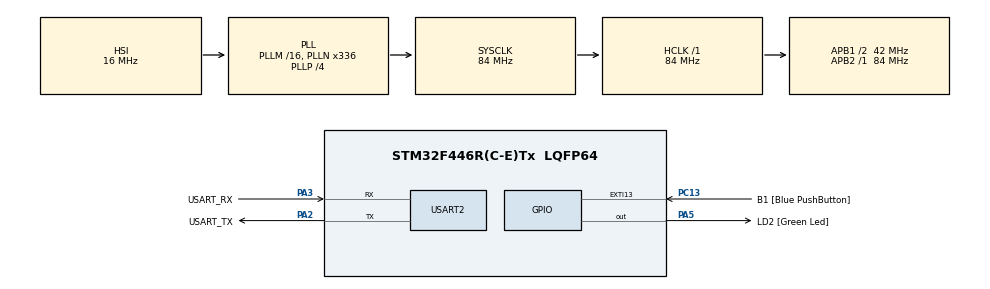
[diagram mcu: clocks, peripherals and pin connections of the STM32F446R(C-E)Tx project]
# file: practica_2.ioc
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Mcu.Family=STM32F4
Mcu.Name=STM32F446R(C-E)Tx
Mcu.Package=LQFP64
NVIC.EXTI15_10_IRQn=true\:0\:0\:false\:false\:true\:true\:true\:true
NVIC.PriorityGroup=NVIC_PRIORITYGROUP_0
PA13.GPIO_Label=TMS
PA13.Mode=Serial_Wire
PA13.Signal=SYS_JTMS-SWDIO
PA14.GPIO_Label=TCK
PA14.Mode=Serial_Wire
PA14.Signal=SYS_JTCK-SWCLK
PA2.GPIO_Label=USART_TX
PA2.Mode=Asynchronous
PA2.Signal=USART2_TX
PA3.GPIO_Label=USART_RX
PA3.Mode=Asynchronous
PA3.Signal=USART2_RX
PA5.GPIO_Label=LD2 [Green Led]
PA5.Signal=GPIO_Output
PB3.GPIO_Label=SWO
PB3.Signal=SYS_JTDO-SWO
PC13.GPIO_Label=B1 [Blue PushButton]
PC13.GPIO_ModeDefaultEXTI=GPIO_MODE_IT_FALLING
PC13.Signal=GPXTI13
PC14-OSC32_IN.Mode=LSE-External-Oscillator
PC14-OSC32_IN.Signal=RCC_OSC32_IN
PC15-OSC32_OUT.Mode=LSE-External-Oscillator
PC15-OSC32_OUT.Signal=RCC_OSC32_OUT
PH0-OSC_IN.Mode=HSE-External-Oscillator
PH0-OSC_IN.Signal=RCC_OSC_IN
PH1-OSC_OUT.Mode=HSE-External-Oscillator
PH1-OSC_OUT.Signal=RCC_OSC_OUT
ProjectManager.HeapSize=0x200
ProjectManager.StackSize=0x400
ProjectManager.TargetToolchain=CMake
RCC.48MHZClocksFreq_Value=84000000
RCC.AHBFreq_Value=84000000
RCC.APB1CLKDivider=RCC_HCLK_DIV2
RCC.APB1Freq_Value=42000000
RCC.APB1TimFreq_Value=84000000
RCC.APB2Freq_Value=84000000
RCC.APB2TimFreq_Value=84000000
RCC.CortexFreq_Value=84000000
RCC.FLatency-AdvancedSettings=FLASH_LATENCY_2
RCC.HCLKFreq_Value=84000000
RCC.HSE_VALUE=8000000
RCC.HSI_VALUE=16000000
RCC.PLLN=336
RCC.PLLP=RCC_PLLP_DIV4
RCC.SYSCLKFreq_VALUE=84000000
RCC.SYSCLKSource=RCC_SYSCLKSOURCE_PLLCLK
RCC.USBFreq_Value=168000000
RCC.VCOOutputFreq_Value=336000000
USART2.VirtualMode=VM_ASYNC
board=NUCLEO-F446RE

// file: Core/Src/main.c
/* USER CODE BEGIN Header */
/**
  ******************************************************************************
  * @file           : main.c
  * @brief          : Main program body
  ******************************************************************************
  * @attention
  *
  * Copyright (c) 2026 STMicroelectronics.
  * All rights reserved.
  *
  * This software is licensed under terms that can be found in the LICENSE file
  * in the root directory of this software component.
  * If no LICENSE file comes with this software, it is provided AS-IS.
  *
  ******************************************************************************
  */
/* USER CODE END Header */
#include "main.h"

/* USER CODE BEGIN Includes */
#include <stdint.h>
/* USER CODE END Includes */

/* USER CODE BEGIN PD */
#define CANT_PARPADEOS 5
/// recordar que se mantiene prendido un 50% del tiempo, entonces la cantidad de
/// semi periodos a esperar en encendido y apagado es el doble
#define SEMIPERIODOS (CANT_PARPADEOS * 2)
/* USER CODE END PD */

/* USER CODE BEGIN PM */
#define ZERO_OR_COMPILE_ERROR(cond) ((int)sizeof(char[1 - (2 * !(cond))]) - 1)
#define IS_ARRAY(array) ZERO_OR_COMPILE_ERROR(	\
        !__builtin_types_compatible_p(__typeof__(array), __typeof__(&(array)[0])))
#define ARRAY_SIZE(array) ((size_t)(IS_ARRAY(array) + (sizeof(array)/sizeof(array[0]))))
/* USER CODE END PM */

UART_HandleTypeDef huart2;

void SystemClock_Config(void);
static void MX_GPIO_Init(void);
static void MX_USART2_UART_Init(void);

/* USER CODE BEGIN 0 */
void delayInit(delay_t* delay, tick_t duration)
{
  /// chequeamos que el puntero a delay sea valido
  if(delay == NULL) { return; }
  delay->duration = duration;
  delay->startTime = 0;
  delay->running = false;
}

bool_t delayRead(delay_t *delay)
{
  /// chequeamos que el puntero a delay sea valido
  if(delay == NULL ) { return false; }
  if(delay->running) {
    /// si esta corriendo, verificar que supero la duracion
    if(HAL_GetTick() - delay->startTime >= delay->duration) {
      delay->running = false;
      return true;
    }
  } else {
    delay->startTime = HAL_GetTick();
    delay->running = true;
  }
  return false;
}

void delayWrite(delay_t* delay, tick_t duration)
{
  /// chequeamos que el puntero a delay sea valido
  if(delay == NULL ) { return; }
  delay->duration = duration;
}

delay_t delay;
uint8_t contador_semiperiodo;
uint16_t retrasos[3] = {1000, 200, 100};
/* USER CODE END 0 */

int main(void)
{

  /* MCU Configuration--------------------------------------------------------*/

  /* Reset of all peripherals, Initializes the Flash interface and the Systick. */
  HAL_Init();

  /* Configure the system clock */
  SystemClock_Config();

  /* Initialize all configured peripherals */
  MX_GPIO_Init();
  MX_USART2_UART_Init();
  /* USER CODE BEGIN 2 */
  delayInit(&delay, 1000);
  /* USER CODE END 2 */

  /* Infinite loop */
  /* USER CODE BEGIN WHILE */
  while (1)
  {
	if(delayRead(&delay)) {
      HAL_GPIO_TogglePin(LD2_GPIO_Port, LD2_Pin);
      contador_semiperiodo++;
      /// verificamos si contador_semiperiodo llego al valor maximo de semiperiodos (en este caso es 30)
      if(contador_semiperiodo == ARRAY_SIZE(retrasos) * SEMIPERIODOS) { contador_semiperiodo = 0; }
      /// si el periodo es multiplo de SEMIPERIODOS entonces modificamos delayWrite.
      if(contador_semiperiodo % SEMIPERIODOS == 0) {
        delayWrite(&delay, retrasos[contador_semiperiodo / SEMIPERIODOS]);
      }
    }
    /* USER CODE END WHILE */

  }
}

void SystemClock_Config(void)
{
  RCC_OscInitTypeDef RCC_OscInitStruct = {0};
  RCC_ClkInitTypeDef RCC_ClkInitStruct = {0};

  /** Configure the main internal regulator output voltage
  */
  __HAL_RCC_PWR_CLK_ENABLE();
  __HAL_PWR_VOLTAGESCALING_CONFIG(PWR_REGULATOR_VOLTAGE_SCALE3);

  /** Initializes the RCC Oscillators according to the specified parameters
  * in the RCC_OscInitTypeDef structure.
  */
  RCC_OscInitStruct.OscillatorType = RCC_OSCILLATORTYPE_HSI;
  RCC_OscInitStruct.HSIState = RCC_HSI_ON;
  RCC_OscInitStruct.HSICalibrationValue = RCC_HSICALIBRATION_DEFAULT;
  RCC_OscInitStruct.PLL.PLLState = RCC_PLL_ON;
  RCC_OscInitStruct.PLL.PLLSource = RCC_PLLSOURCE_HSI;
  RCC_OscInitStruct.PLL.PLLM = 16;
  RCC_OscInitStruct.PLL.PLLN = 336;
  RCC_OscInitStruct.PLL.PLLP = RCC_PLLP_DIV4;
  RCC_OscInitStruct.PLL.PLLQ = 2;
  RCC_OscInitStruct.PLL.PLLR = 2;
  if (HAL_RCC_OscConfig(&RCC_OscInitStruct) != HAL_OK)
  {
    Error_Handler();
  }

  /** Initializes the CPU, AHB and APB buses clocks
  */
  RCC_ClkInitStruct.ClockType = RCC_CLOCKTYPE_HCLK|RCC_CLOCKTYPE_SYSCLK
                              |RCC_CLOCKTYPE_PCLK1|RCC_CLOCKTYPE_PCLK2;
  RCC_ClkInitStruct.SYSCLKSource = RCC_SYSCLKSOURCE_PLLCLK;
  RCC_ClkInitStruct.AHBCLKDivider = RCC_SYSCLK_DIV1;
  RCC_ClkInitStruct.APB1CLKDivider = RCC_HCLK_DIV2;
  RCC_ClkInitStruct.APB2CLKDivider = RCC_HCLK_DIV1;

  if (HAL_RCC_ClockConfig(&RCC_ClkInitStruct, FLASH_LATENCY_2) != HAL_OK)
  {
    Error_Handler();
  }
}

static void MX_USART2_UART_Init(void)
{

  huart2.Instance = USART2;
  huart2.Init.BaudRate = 115200;
  huart2.Init.WordLength = UART_WORDLENGTH_8B;
  huart2.Init.StopBits = UART_STOPBITS_1;
  huart2.Init.Parity = UART_PARITY_NONE;
  huart2.Init.Mode = UART_MODE_TX_RX;
  huart2.Init.HwFlowCtl = UART_HWCONTROL_NONE;
  huart2.Init.OverSampling = UART_OVERSAMPLING_16;
  if (HAL_UART_Init(&huart2) != HAL_OK)
  {
    Error_Handler();
  }

}

static void MX_GPIO_Init(void)
{
  GPIO_InitTypeDef GPIO_InitStruct = {0};

  /* GPIO Ports Clock Enable */
  __HAL_RCC_GPIOC_CLK_ENABLE();
  __HAL_RCC_GPIOH_CLK_ENABLE();
  __HAL_RCC_GPIOA_CLK_ENABLE();
  __HAL_RCC_GPIOB_CLK_ENABLE();

  /*Configure GPIO pin Output Level */
  HAL_GPIO_WritePin(LD2_GPIO_Port, LD2_Pin, GPIO_PIN_RESET);

  /*Configure GPIO pin : B1_Pin */
  GPIO_InitStruct.Pin = B1_Pin;
  GPIO_InitStruct.Mode = GPIO_MODE_IT_FALLING;
  GPIO_InitStruct.Pull = GPIO_NOPULL;
  HAL_GPIO_Init(B1_GPIO_Port, &GPIO_InitStruct);

  /*Configure GPIO pin : LD2_Pin */
  GPIO_InitStruct.Pin = LD2_Pin;
  GPIO_InitStruct.Mode = GPIO_MODE_OUTPUT_PP;
  GPIO_InitStruct.Pull = GPIO_NOPULL;
  GPIO_InitStruct.Speed = GPIO_SPEED_FREQ_LOW;
  HAL_GPIO_Init(LD2_GPIO_Port, &GPIO_InitStruct);

  /* EXTI interrupt init*/
  HAL_NVIC_SetPriority(EXTI15_10_IRQn, 0, 0);
  HAL_NVIC_EnableIRQ(EXTI15_10_IRQn);

}

/* USER CODE BEGIN 4 */
void HAL_GPIO_EXTI_Callback(uint16_t GPIO_Pin)
{
}
/* USER CODE END 4 */

void Error_Handler(void)
{
  __disable_irq();
  while (1)
  {
  }
}
